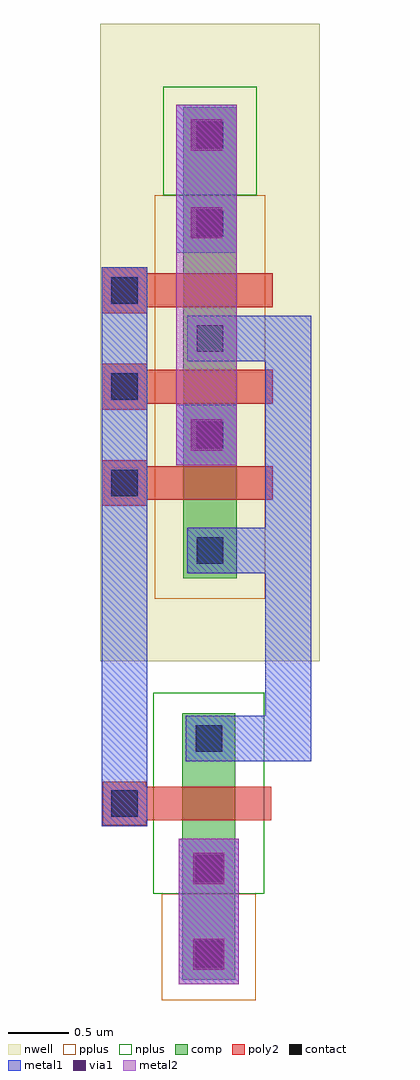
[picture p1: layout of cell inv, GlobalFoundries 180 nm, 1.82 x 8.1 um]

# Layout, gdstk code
from math import pi, radians
import gdstk
lib = gdstk.Library(unit=1e-6, precision=5e-09)
def R(c, l, rs):  # rectangles x0, y0, x1, y1
    for r in rs: c.add(gdstk.rectangle(r[:2], r[2:], *l))
def A(c, l, x, y, w, h, nx, ny, dx, dy):  # array of equal rectangles
    R(c, l, [(x+i*dx, y+j*dy, x+i*dx+w, y+j*dy+h) for i in range(nx) for j in range(ny)])
nwell = (21, 0)
comp = (22, 0)
poly2 = (30, 0)
pplus = (31, 0)
nplus = (32, 0)
contact = (33, 0)
metal1 = (34, 0)
via1 = (35, 0)
metal2 = (36, 0)

via_dev = lib.new_cell('via_dev')
R(via_dev, metal1, [(0,0,0.5,0.5)])
R(via_dev, via1, [(0.12,0.12,0.38,0.38)])
R(via_dev, metal2, [(0,0,0.5,0.5)])

nfet = lib.new_cell('nfet')
R(nfet, comp, [(-0.42,0,0,0.44), (0,0,0.66,0.44), (0.66,0,1.08,0.44), (1.08,0,1.79,0.44)])
R(nfet, poly2, [(0.19,-0.3,0.47,0.74), (0.15,0.74,0.51,1.1)])
R(nfet, pplus, [(1.08,-0.17,1.96,0.61)])
R(nfet, nplus, [(-0.59,-0.24,1.08,0.68)])
R(nfet, contact, [(-0.32,0.11,-0.1,0.33), (0.76,0.11,0.98,0.33), (1.47,0.11,1.69,0.33), (0.22,0.81,0.44,1.03)])
R(nfet, metal1, [(-0.4,0.03,-0.02,0.41), (0.68,0.03,1.06,0.41), (1.39,0.03,1.77,0.41), (0.14,0.73,0.52,1.11)])

pfet = lib.new_cell('pfet')
R(pfet, nwell, [(-1.15,-0.69,4.14,1.13)])
R(pfet, comp, [(-0.46,0,0,0.44), (0,0,2.26,0.44), (2.26,0,2.72,0.44), (2.72,0,3.45,0.44)])
A(pfet, poly2, 0.19, -0.3, 0.28, 1.04, 3, 1, 0.8, 0)
A(pfet, poly2, 0.14, 0.74, 0.38, 0.38, 3, 1, 0.8, 0)
R(pfet, pplus, [(-0.63,-0.24,2.72,0.68)])
R(pfet, nplus, [(2.72,-0.17,3.62,0.61)])
A(pfet, contact, 0.22, 0.82, 0.22, 0.22, 3, 1, 0.8, 0)
R(pfet, contact, [(-0.34,0.11,-0.12,0.33), (0.62,0.11,0.84,0.33), (1.42,0.11,1.64,0.33), (2.38,0.11,2.6,0.33), (3.11,0.11,3.33,0.33)])
A(pfet, metal1, 0.14, 0.74, 0.38, 0.38, 3, 1, 0.8, 0)
R(pfet, metal1, [(-0.42,0.03,-0.04,0.41), (0.54,0.03,0.92,0.41), (1.34,0.03,1.72,0.41), (2.3,0.03,2.68,0.41), (3.03,0.03,3.41,0.41)])

inv = lib.new_cell('inv')
R(inv, metal1, [(0.65,0.63,1.15,0.84), (0.01,1.44,0.39,6.08), (0.71,1.98,1.75,2.36), (1.37,1.98,1.75,5.68), (0.72,3.54,1.75,3.92), (0.72,5.3,1.75,5.68), (0.63,6.7,1.13,6.93)])
R(inv, metal2, [(0.65,0.13,1.15,1.34), (0.63,4.44,1.13,7.43)])
inv.add(gdstk.Reference(via_dev, (0.65,0.13)))
inv.add(gdstk.Reference(via_dev, (0.65,0.84)))
inv.add(gdstk.Reference(via_dev, (0.63,6.93)))
inv.add(gdstk.Reference(via_dev, (0.63,6.2)))
inv.add(gdstk.Reference(via_dev, (0.63,4.44)))
inv.add(gdstk.Reference(nfet, (1.12,1.96), rotation=3*pi/2, x_reflection=True))
inv.add(gdstk.Reference(pfet, (1.13,3.96), rotation=pi/2))

lib.write_gds('inv.gds')
